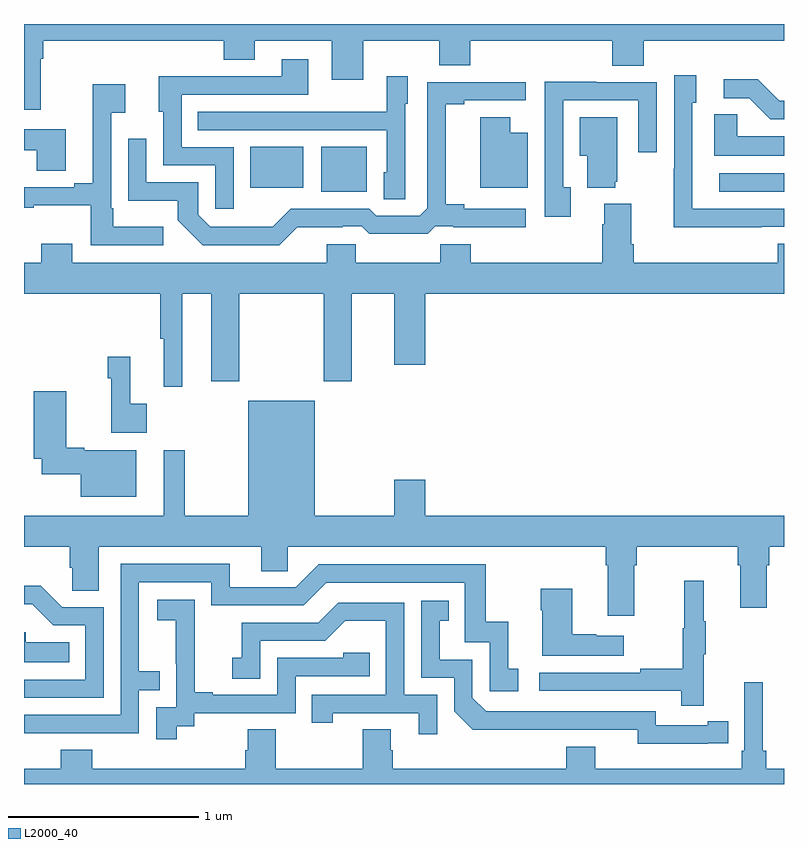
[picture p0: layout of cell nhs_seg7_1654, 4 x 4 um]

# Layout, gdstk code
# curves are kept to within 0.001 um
import gdstk
lib = gdstk.Library(unit=1e-6, precision=1e-09)
def R(c, l, rs):  # rectangles x0, y0, x1, y1
    for r in rs: c.add(gdstk.rectangle(r[:2], r[2:], *l))
def P(c, l, *ps):  # polygons
    for p in ps: c.add(gdstk.Polygon(p, *l))
L2000_40 = (2000, 40)

nhs_seg7_1654 = lib.new_cell('nhs_seg7_1654')
R(nhs_seg7_1654, L2000_40, [(224.564,1037.117,224.803,1037.353), (226.659,1037.118,227,1037.214), (224.192,1037.138,224.47,1037.353)])
P(nhs_seg7_1654, L2000_40, [(223.087,1037.816),(223.1,1037.816),(223.1,1037.912),(224.051,1037.912),(224.051,1037.813),(224.215,1037.813),(224.215,1037.912),(224.621,1037.912),(224.621,1037.706),(224.785,1037.706),(224.785,1037.912),(225.185,1037.912),(225.185,1037.784),(225.349,1037.784),(225.349,1037.912),(226.097,1037.912),(226.097,1037.779),(226.262,1037.779),(226.262,1037.912),(227,1037.912),(227,1038),(223,1038),(223,1037.55),(223.087,1037.55)],
  [(224.103,1037.352),(223.83,1037.352),(223.83,1037.628),(224.497,1037.628),(224.497,1037.815),(224.357,1037.815),(224.357,1037.724),(223.927,1037.724),(223.927,1037.726),(223.709,1037.726),(223.709,1037.538),(223.734,1037.538),(223.734,1037.256),(224.007,1037.256),(224.007,1037.028),(224.103,1037.028)],
  [(226.883,1036.932),(227,1036.932),(227,1037.028),(226.518,1037.028),(226.518,1037.586),(226.537,1037.586),(226.537,1037.731),(226.422,1037.731),(226.422,1037.237),(226.42,1037.237),(226.42,1036.93),(226.883,1036.93)],
  [(225.006,1037.58),(225.019,1037.58),(225.019,1037.725),(224.91,1037.725),(224.91,1037.539),(224.593,1037.539),(224.593,1037.538),(223.915,1037.538),(223.915,1037.442),(224.91,1037.442),(224.91,1037.22),(224.894,1037.22),(224.894,1037.077),(225.006,1037.077)],
  [(227,1037.595),(226.974,1037.595),(226.861,1037.708),(226.683,1037.708),(226.683,1037.61),(226.817,1037.61),(226.928,1037.499),(227,1037.499)],
  [(225.877,1037.142),(225.837,1037.142),(225.837,1037.598),(226.233,1037.598),(226.233,1037.325),(226.329,1037.325),(226.329,1037.694),(226.013,1037.694),(226.013,1037.696),(225.741,1037.696),(225.741,1036.986),(225.877,1036.986)],
  [(224.438,1036.93),(224.678,1036.93),(224.678,1036.935),(224.778,1036.935),(224.818,1036.896),(225.125,1036.896),(225.165,1036.935),(225.259,1036.935),(225.259,1036.93),(225.64,1036.93),(225.64,1037.028),(225.316,1037.028),(225.316,1037.051),(225.221,1037.051),(225.221,1037.578),(225.316,1037.578),(225.316,1037.598),(225.64,1037.598),(225.64,1037.694),(225.123,1037.694),(225.123,1037.031),(225.084,1036.992),(224.853,1036.992),(224.817,1037.028),(224.403,1037.028),(224.309,1036.934),(224.204,1036.934),(224.204,1036.932),(223.98,1036.932),(223.917,1036.995),(223.917,1037.166),(223.644,1037.166),(223.644,1037.395),(223.548,1037.395),(223.548,1037.069),(223.81,1037.069),(223.81,1036.967),(223.94,1036.836),(224.343,1036.836)],
  [(223.732,1036.933),(223.471,1036.933),(223.471,1037.029),(223.458,1037.029),(223.458,1037.534),(223.534,1037.534),(223.534,1037.683),(223.361,1037.683),(223.361,1037.161),(223.265,1037.161),(223.265,1037.142),(223,1037.142),(223,1037.034),(223.051,1037.034),(223.051,1037.045),(223.35,1037.045),(223.35,1036.836),(223.732,1036.836)],
  [(227,1037.41),(226.755,1037.41),(226.755,1037.525),(226.634,1037.525),(226.634,1037.306),(227,1037.306)],
  [(225.652,1037.428),(225.559,1037.428),(225.559,1037.509),(225.401,1037.509),(225.401,1037.138),(225.652,1037.138)],
  [(226.112,1037.169),(226.123,1037.169),(226.123,1037.509),(225.926,1037.509),(225.926,1037.306),(225.965,1037.306),(225.965,1037.138),(226.112,1037.138)],
  [(223.219,1037.446),(223,1037.446),(223,1037.336),(223.067,1037.336),(223.067,1037.227),(223.219,1037.227)],
  [(227,1036.843),(226.967,1036.843),(226.967,1036.744),(226.208,1036.744),(226.208,1036.84),(226.195,1036.84),(226.195,1037.053),(226.055,1037.053),(226.055,1036.946),(226.043,1036.946),(226.043,1036.744),(225.35,1036.744),(225.35,1036.842),(225.19,1036.842),(225.19,1036.744),(224.745,1036.744),(224.745,1036.842),(224.594,1036.842),(224.594,1036.744),(223.255,1036.744),(223.255,1036.843),(223.091,1036.843),(223.091,1036.744),(223,1036.744),(223,1036.58),(223.717,1036.58),(223.717,1036.344),(223.736,1036.344),(223.736,1036.092),(223.834,1036.092),(223.834,1036.58),(223.985,1036.58),(223.985,1036.119),(224.133,1036.119),(224.133,1036.58),(224.578,1036.58),(224.578,1036.119),(224.725,1036.119),(224.725,1036.58),(224.948,1036.58),(224.948,1036.206),(225.112,1036.206),(225.112,1036.58),(227,1036.58)],
  [(223.645,1036.001),(223.559,1036.001),(223.559,1036.249),(223.441,1036.249),(223.441,1036.136),(223.459,1036.136),(223.459,1035.848),(223.645,1035.848)],
  [(223.591,1035.757),(223.318,1035.757),(223.318,1035.77),(223.222,1035.77),(223.222,1036.066),(223.052,1036.066),(223.052,1035.713),(223.094,1035.713),(223.094,1035.629),(223.298,1035.629),(223.298,1035.512),(223.591,1035.512)],
  [(226.213,1035.152),(226.226,1035.152),(226.226,1035.248),(226.757,1035.248),(226.757,1035.152),(226.769,1035.152),(226.769,1034.928),(226.909,1034.928),(226.909,1035.152),(226.922,1035.152),(226.922,1035.248),(227,1035.248),(227,1035.412),(225.112,1035.412),(225.112,1035.601),(224.948,1035.601),(224.948,1035.412),(224.53,1035.412),(224.53,1036.018),(224.18,1036.018),(224.18,1035.412),(223.846,1035.412),(223.846,1035.757),(223.736,1035.757),(223.736,1035.412),(223,1035.412),(223,1035.248),(223.241,1035.248),(223.241,1035.139),(223.254,1035.139),(223.254,1035.016),(223.393,1035.016),(223.393,1035.248),(224.249,1035.248),(224.249,1035.121),(224.388,1035.121),(224.388,1035.248),(226.061,1035.248),(226.061,1035.152),(226.073,1035.152),(226.073,1034.886),(226.213,1034.886)],
  [(223.109,1034.268),(223.605,1034.268),(223.605,1034.493),(223.715,1034.493),(223.715,1034.594),(223.605,1034.594),(223.605,1035.063),(223.986,1035.063),(223.986,1034.94),(224.472,1034.94),(224.592,1035.06),(225.321,1035.06),(225.321,1034.745),(225.45,1034.745),(225.45,1034.487),(225.601,1034.487),(225.601,1034.607),(225.548,1034.607),(225.548,1034.853),(225.43,1034.853),(225.43,1035.156),(224.55,1035.156),(224.43,1035.036),(224.083,1035.036),(224.083,1035.159),(223.509,1035.159),(223.509,1034.364),(223,1034.364),(223,1034.267)],
  [(226.577,1034.683),(226.588,1034.683),(226.588,1034.857),(226.577,1034.857),(226.577,1035.07),(226.474,1035.07),(226.474,1034.82),(226.467,1034.82),(226.467,1034.606),(226.243,1034.606),(226.243,1034.586),(225.711,1034.586),(225.711,1034.49),(226.459,1034.49),(226.459,1034.412),(226.577,1034.412)],
  [(223.419,1034.931),(223.2,1034.931),(223.087,1035.044),(223,1035.044),(223,1034.946),(223.043,1034.946),(223.154,1034.835),(223.323,1034.835),(223.323,1034.55),(223,1034.55),(223,1034.454),(223.419,1034.454)],
  [(226.156,1034.779),(226.013,1034.779),(226.013,1034.789),(225.886,1034.789),(225.886,1035.028),(225.721,1035.028),(225.721,1034.915),(225.728,1034.915),(225.728,1034.675),(226.156,1034.675)],
  [(223.804,1034.305),(223.896,1034.305),(223.896,1034.373),(224.43,1034.373),(224.43,1034.568),(224.819,1034.568),(224.819,1034.691),(224.679,1034.691),(224.679,1034.664),(224.334,1034.664),(224.334,1034.469),(223.993,1034.469),(223.993,1034.482),(223.898,1034.482),(223.898,1034.765),(223.899,1034.765),(223.899,1034.971),(223.701,1034.971),(223.701,1034.861),(223.799,1034.861),(223.799,1034.632),(223.8,1034.632),(223.8,1034.403),(223.695,1034.403),(223.695,1034.235),(223.804,1034.235)],
  [(226.598,1034.214),(226.706,1034.214),(226.706,1034.33),(226.598,1034.33),(226.598,1034.31),(226.326,1034.31),(226.326,1034.382),(225.432,1034.382),(225.36,1034.454),(225.36,1034.655),(225.187,1034.655),(225.187,1034.859),(225.236,1034.859),(225.236,1034.965),(225.09,1034.965),(225.09,1034.559),(225.264,1034.559),(225.264,1034.382),(225.362,1034.285),(226.23,1034.286),(226.23,1034.213)],
  [(225.174,1034.469),(225,1034.469),(225,1034.955),(224.654,1034.955),(224.549,1034.85),(224.146,1034.85),(224.146,1034.665),(224.097,1034.665),(224.097,1034.555),(224.244,1034.555),(224.244,1034.754),(224.586,1034.754),(224.69,1034.858),(224.904,1034.858),(224.904,1034.469),(224.515,1034.469),(224.515,1034.322),(224.626,1034.322),(224.626,1034.373),(225.077,1034.373),(225.077,1034.262),(225.174,1034.262)],
  [(223.238,1034.746),(223.008,1034.746),(223.008,1034.799),(223,1034.799),(223,1034.642),(223.238,1034.642)],
  [(227,1034.08),(226.907,1034.08),(226.907,1034.176),(226.888,1034.176),(226.888,1034.536),(226.791,1034.536),(226.791,1034.176),(226.778,1034.176),(226.778,1034.08),(226.006,1034.08),(226.006,1034.197),(225.854,1034.197),(225.854,1034.08),(224.942,1034.08),(224.942,1034.178),(224.929,1034.178),(224.929,1034.288),(224.782,1034.288),(224.782,1034.08),(224.325,1034.08),(224.325,1034.288),(224.177,1034.288),(224.177,1034.178),(224.165,1034.178),(224.165,1034.08),(223.358,1034.08),(223.358,1034.179),(223.193,1034.179),(223.193,1034.08),(223,1034.08),(223,1034),(227,1034)])

lib.write_gds('nhs_seg7_1654.gds')
